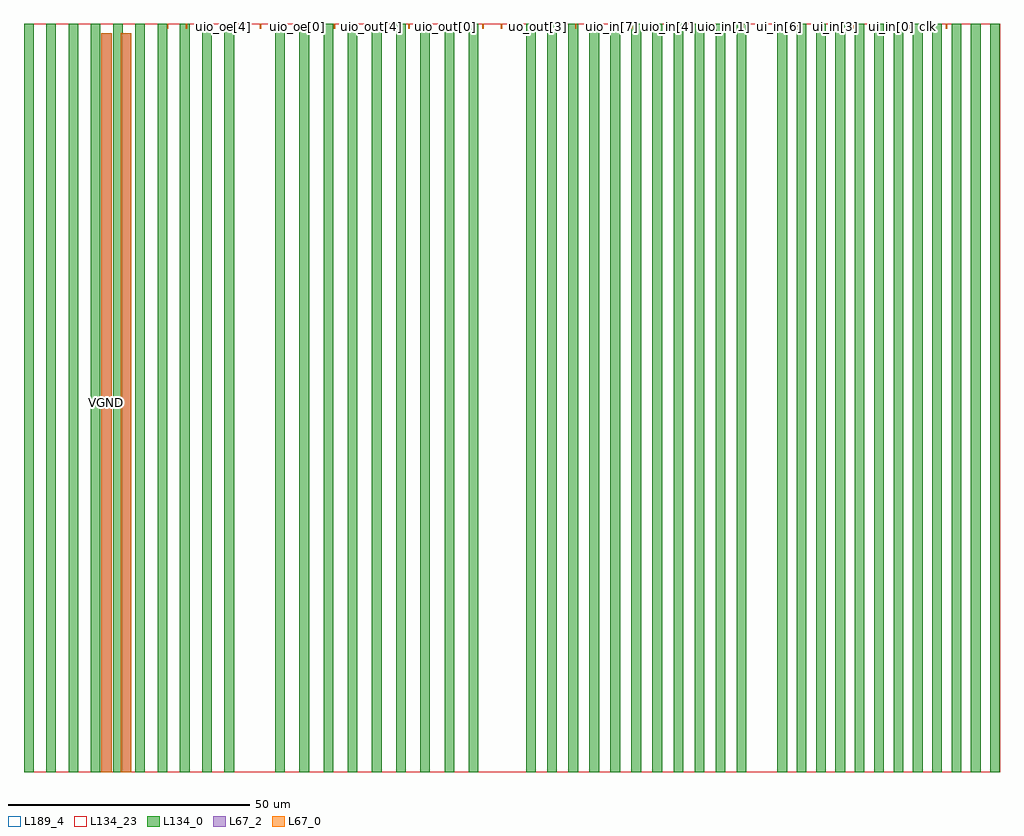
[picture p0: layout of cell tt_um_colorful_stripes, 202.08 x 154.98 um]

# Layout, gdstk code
import gdstk
lib = gdstk.Library(unit=1e-6, precision=1e-09)
def R(c, l, rs):  # rectangles x0, y0, x1, y1
    for r in rs: c.add(gdstk.rectangle(r[:2], r[2:], *l))
def A(c, l, x, y, w, h, nx, ny, dx, dy):  # array of equal rectangles
    R(c, l, [(x+i*dx, y+j*dy, x+i*dx+w, y+j*dy+h) for i in range(nx) for j in range(ny)])
L67_0 = (67, 0)
L67_2 = (67, 2)
L134_0 = (134, 0)
L134_23 = (134, 23)
L189_4 = (189, 4)

panel_g = lib.new_cell('panel_G')
R(panel_g, L134_0, [(0,0,2,154.98)])

panel_r = lib.new_cell('panel_R')
R(panel_r, L134_0, [(0,0,2,154.98)])

panel_y = lib.new_cell('panel_Y')
R(panel_y, L134_0, [(0,0,2,154.98)])

panel_b = lib.new_cell('panel_B')
R(panel_b, L134_0, [(0,0,2,154.98)])

tt_um_colorful_stripes = lib.new_cell('tt_um_colorful_stripes')
A(tt_um_colorful_stripes, L67_0, 29.61, 153.98, 0.3, 1, 43, 1, 3.84, 0)
R(tt_um_colorful_stripes, L67_0, [(16,0,18.2,152.98), (20,0,22.2,152.98)])
A(tt_um_colorful_stripes, L67_2, 29.61, 153.98, 0.3, 1, 43, 1, 3.84, 0)
R(tt_um_colorful_stripes, L67_2, [(16,0,18.2,152.98), (20,0,22.2,152.98)])
R(tt_um_colorful_stripes, L134_23, [(0,0,202.08,154.98)])
R(tt_um_colorful_stripes, L189_4, [(0,0,202.08,154.98)])
r = gdstk.Reference(panel_g, (0,0)); r.repetition = gdstk.Repetition(10, 1, v1=(4.61,0), v2=(0,1)); tt_um_colorful_stripes.add(r)
r = gdstk.Reference(panel_r, (52,0)); r.repetition = gdstk.Repetition(9, 1, v1=(5.01,0), v2=(0,1)); tt_um_colorful_stripes.add(r)
r = gdstk.Reference(panel_y, (104,0)); r.repetition = gdstk.Repetition(11, 1, v1=(4.355,0), v2=(0,1)); tt_um_colorful_stripes.add(r)
r = gdstk.Reference(panel_b, (156,0)); r.repetition = gdstk.Repetition(12, 1, v1=(4.005,0), v2=(0,1)); tt_um_colorful_stripes.add(r)
tt_um_colorful_stripes.add(gdstk.Label('clk', (187.2,154.48), layer=67, texttype=25))
tt_um_colorful_stripes.add(gdstk.Label('ena', (191.04,154.48), layer=67, texttype=25))
tt_um_colorful_stripes.add(gdstk.Label('rst_n', (183.36,154.48), layer=67, texttype=25))
tt_um_colorful_stripes.add(gdstk.Label('ui_in[0]', (179.52,154.48), layer=67, texttype=25))
tt_um_colorful_stripes.add(gdstk.Label('ui_in[1]', (175.68,154.48), layer=67, texttype=25))
tt_um_colorful_stripes.add(gdstk.Label('ui_in[2]', (171.84,154.48), layer=67, texttype=25))
tt_um_colorful_stripes.add(gdstk.Label('ui_in[3]', (168,154.48), layer=67, texttype=25))
tt_um_colorful_stripes.add(gdstk.Label('ui_in[4]', (164.16,154.48), layer=67, texttype=25))
tt_um_colorful_stripes.add(gdstk.Label('ui_in[5]', (160.32,154.48), layer=67, texttype=25))
tt_um_colorful_stripes.add(gdstk.Label('ui_in[6]', (156.48,154.48), layer=67, texttype=25))
tt_um_colorful_stripes.add(gdstk.Label('ui_in[7]', (152.64,154.48), layer=67, texttype=25))
tt_um_colorful_stripes.add(gdstk.Label('uio_in[0]', (148.8,154.48), layer=67, texttype=25))
tt_um_colorful_stripes.add(gdstk.Label('uio_in[1]', (144.96,154.48), layer=67, texttype=25))
tt_um_colorful_stripes.add(gdstk.Label('uio_in[2]', (141.12,154.48), layer=67, texttype=25))
tt_um_colorful_stripes.add(gdstk.Label('uio_in[3]', (137.28,154.48), layer=67, texttype=25))
tt_um_colorful_stripes.add(gdstk.Label('uio_in[4]', (133.44,154.48), layer=67, texttype=25))
tt_um_colorful_stripes.add(gdstk.Label('uio_in[5]', (129.6,154.48), layer=67, texttype=25))
tt_um_colorful_stripes.add(gdstk.Label('uio_in[6]', (125.76,154.48), layer=67, texttype=25))
tt_um_colorful_stripes.add(gdstk.Label('uio_in[7]', (121.92,154.48), layer=67, texttype=25))
tt_um_colorful_stripes.add(gdstk.Label('uio_oe[0]', (56.64,154.48), layer=67, texttype=25))
tt_um_colorful_stripes.add(gdstk.Label('uio_oe[1]', (52.8,154.48), layer=67, texttype=25))
tt_um_colorful_stripes.add(gdstk.Label('uio_oe[2]', (48.96,154.48), layer=67, texttype=25))
tt_um_colorful_stripes.add(gdstk.Label('uio_oe[3]', (45.12,154.48), layer=67, texttype=25))
tt_um_colorful_stripes.add(gdstk.Label('uio_oe[4]', (41.28,154.48), layer=67, texttype=25))
tt_um_colorful_stripes.add(gdstk.Label('uio_oe[5]', (37.44,154.48), layer=67, texttype=25))
tt_um_colorful_stripes.add(gdstk.Label('uio_oe[6]', (33.6,154.48), layer=67, texttype=25))
tt_um_colorful_stripes.add(gdstk.Label('uio_oe[7]', (29.76,154.48), layer=67, texttype=25))
tt_um_colorful_stripes.add(gdstk.Label('uio_out[0]', (87.36,154.48), layer=67, texttype=25))
tt_um_colorful_stripes.add(gdstk.Label('uio_out[1]', (83.52,154.48), layer=67, texttype=25))
tt_um_colorful_stripes.add(gdstk.Label('uio_out[2]', (79.68,154.48), layer=67, texttype=25))
tt_um_colorful_stripes.add(gdstk.Label('uio_out[3]', (75.84,154.48), layer=67, texttype=25))
tt_um_colorful_stripes.add(gdstk.Label('uio_out[4]', (72,154.48), layer=67, texttype=25))
tt_um_colorful_stripes.add(gdstk.Label('uio_out[5]', (68.16,154.48), layer=67, texttype=25))
tt_um_colorful_stripes.add(gdstk.Label('uio_out[6]', (64.32,154.48), layer=67, texttype=25))
tt_um_colorful_stripes.add(gdstk.Label('uio_out[7]', (60.48,154.48), layer=67, texttype=25))
tt_um_colorful_stripes.add(gdstk.Label('uo_out[0]', (118.08,154.48), layer=67, texttype=25))
tt_um_colorful_stripes.add(gdstk.Label('uo_out[1]', (114.24,154.48), layer=67, texttype=25))
tt_um_colorful_stripes.add(gdstk.Label('uo_out[2]', (110.4,154.48), layer=67, texttype=25))
tt_um_colorful_stripes.add(gdstk.Label('uo_out[3]', (106.56,154.48), layer=67, texttype=25))
tt_um_colorful_stripes.add(gdstk.Label('uo_out[4]', (102.72,154.48), layer=67, texttype=25))
tt_um_colorful_stripes.add(gdstk.Label('uo_out[5]', (98.88,154.48), layer=67, texttype=25))
tt_um_colorful_stripes.add(gdstk.Label('uo_out[6]', (95.04,154.48), layer=67, texttype=25))
tt_um_colorful_stripes.add(gdstk.Label('uo_out[7]', (91.2,154.48), layer=67, texttype=25))
tt_um_colorful_stripes.add(gdstk.Label('VGND', (17.1,76.49), layer=67, texttype=25))
tt_um_colorful_stripes.add(gdstk.Label('VPWR', (21.1,76.49), layer=67, texttype=25))

lib.write_gds('tt_um_colorful_stripes.gds')
